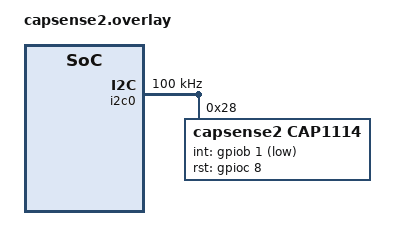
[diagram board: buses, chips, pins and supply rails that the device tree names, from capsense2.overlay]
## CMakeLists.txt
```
cmake_minimum_required(VERSION 3.20.0)
find_package(Zephyr REQUIRED HINTS $ENV{ZEPHYR_BASE})
project(capsense2)

target_sources(app PRIVATE src/main.c)
```

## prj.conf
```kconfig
CONFIG_CONSOLE=y
CONFIG_GPIO=y
CONFIG_I2C_GECKO=y
CONFIG_I2C=y
#CONFIG_SHELL=y
#CONFIG_I2C_SHELL=y
#CONFIG_LOG=y
#CONFIG_LOG_DEFAULT_LEVEL=4
```

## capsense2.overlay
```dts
&pinctrl {
    i2c0_scl_pin: i2c0_scl_pin {
        pinmux = <&gpiob 4 GPIO_ACTIVE_HIGH>;  // Replace 5 1 with actual pin and function values
        bias-pull-up;
    };

    i2c0_sda_pin: i2c0_sda_pin {
        pinmux = <&gpiob 5 GPIO_ACTIVE_HIGH>;  // Replace 5 2 with actual pin and function values
        bias-pull-up;
    };
};


&i2c0{
    compatible = "silabs,gecko-i2c";
    pinctrl-0 = <&i2c0_default>;
    pinctrl-names = "default";
    clock-frequency = <I2C_BITRATE_STANDARD>;
    #address-cells = <1>;
    #size-cells = <0>;
    status = "okay";
    capsense2: cap1114@28 {
        compatible ="capsense2,cap1114";
        reg = <0x28>;
        status = "okay";
        int-gpios = <&gpiob 1 (GPIO_PULL_UP | GPIO_ACTIVE_LOW)>; // Adjust GPIO>
        rst-gpios = <&gpioc 8 (GPIO_PULL_UP | GPIO_ACTIVE_HIGH)>;
    };

 };
```

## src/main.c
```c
#include <stdio.h>
#include <zephyr/device.h>
#include <zephyr/drivers/i2c.h>
#include <zephyr/kernel.h>


#define CAPSENSE2_I2C_ADDR 0x28 // CAP1114 I2C address

#define I2C0_NODE DT_NODELABEL(capsense2)

const struct device *i2c_dev;

static const struct i2c_dt_spec dev_i2c = I2C_DT_SPEC_GET(I2C0_NODE);

int main(void)
{
    printf("Hello, Zephyr!\n");

   int ret;
    uint8_t touch_status;

    uint8_t dev_addr;

    i2c_dev = DEVICE_DT_GET(DT_NODELABEL(i2c0));
    if (!device_is_ready(dev_i2c.bus)) {
        printf("I2C device not ready");
        return 1;
    }

 while (1) {
        // Read touch status register (example register address 0x03)
        ret = i2c_reg_read_byte(i2c_dev, CAPSENSE2_I2C_ADDR, 0x03, &touch_status);
        if (ret == 0) {
            printf("Touch Status: 0x%02X \n", touch_status);
        } else {
            printf("Failed to read touch status (err: %d)", ret);
        }

        k_sleep(K_MSEC(500));
    }


    return 0;
}
```
